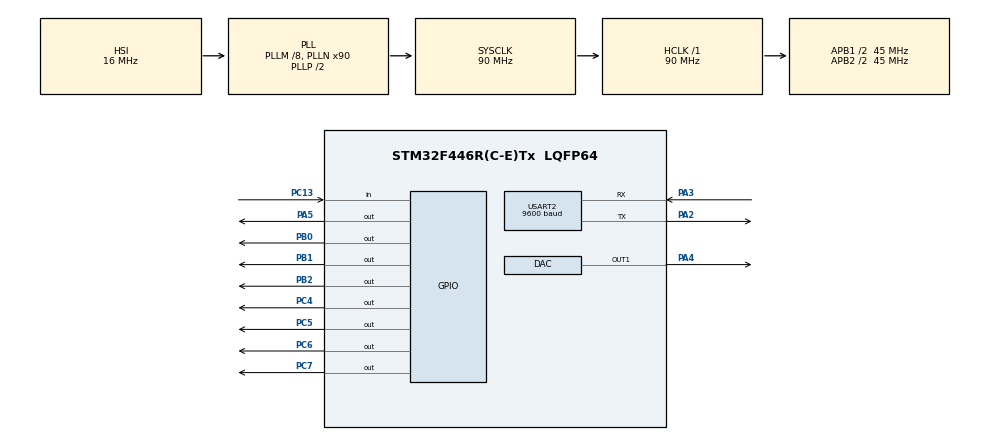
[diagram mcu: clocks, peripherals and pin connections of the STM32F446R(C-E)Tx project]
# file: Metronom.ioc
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DAC.DAC_Trigger=DAC_TRIGGER_T6_TRGO
DAC.WaveGeneration=DISABLE
Dma.DAC1.0.Direction=DMA_MEMORY_TO_PERIPH
Dma.DAC1.0.FIFOMode=DMA_FIFOMODE_DISABLE
Dma.DAC1.0.Instance=DMA1_Stream5
Dma.DAC1.0.MemDataAlignment=DMA_MDATAALIGN_BYTE
Dma.DAC1.0.MemInc=DMA_MINC_ENABLE
Dma.DAC1.0.Mode=DMA_CIRCULAR
Dma.DAC1.0.PeriphDataAlignment=DMA_PDATAALIGN_BYTE
Dma.DAC1.0.PeriphInc=DMA_PINC_DISABLE
Dma.DAC1.0.Priority=DMA_PRIORITY_LOW
Dma.Request0=DAC1
Mcu.Family=STM32F4
Mcu.Name=STM32F446R(C-E)Tx
Mcu.Package=LQFP64
NVIC.DMA1_Stream5_IRQn=true\:0\:0\:false\:false\:true\:false\:true
NVIC.PriorityGroup=NVIC_PRIORITYGROUP_4
NVIC.TIM6_DAC_IRQn=true\:0\:0\:false\:false\:true\:true\:true
NVIC.USART2_IRQn=true\:0\:0\:false\:false\:true\:true\:true
PA2.Mode=Asynchronous
PA2.Signal=USART2_TX
PA3.Mode=Asynchronous
PA3.Signal=USART2_RX
PA4.Signal=COMP_DAC1_group
PA5.Signal=GPIO_Output
PB0.Signal=GPIO_Output
PB1.Signal=GPIO_Output
PB2.Signal=GPIO_Output
PC13.Signal=GPIO_Input
PC4.Signal=GPIO_Output
PC5.Signal=GPIO_Output
PC6.Signal=GPIO_Output
PC7.Signal=GPIO_Output
ProjectManager.HeapSize=0x200
ProjectManager.StackSize=0x400
ProjectManager.TargetToolchain=STM32CubeIDE
RCC.AHBFreq_Value=90000000
RCC.APB1CLKDivider=RCC_HCLK_DIV2
RCC.APB1Freq_Value=45000000
RCC.APB1TimFreq_Value=90000000
RCC.APB2CLKDivider=RCC_HCLK_DIV2
RCC.APB2Freq_Value=45000000
RCC.APB2TimFreq_Value=90000000
RCC.CortexFreq_Value=90000000
RCC.HCLKFreq_Value=90000000
RCC.PLLM=8
RCC.PLLN=90
RCC.SYSCLKFreq_VALUE=90000000
RCC.SYSCLKSource=RCC_SYSCLKSOURCE_PLLCLK
RCC.USBFreq_Value=90000000
RCC.VCOOutputFreq_Value=180000000
SH.COMP_DAC1_group.0=DAC_OUT1,DAC_OUT1
TIM6.AutoReloadPreload=TIM_AUTORELOAD_PRELOAD_ENABLE
TIM6.Period=999
TIM6.Prescaler=2
TIM6.TIM_MasterOutputTrigger=TIM_TRGO_UPDATE
USART2.BaudRate=9600
USART2.VirtualMode=VM_ASYNC
VP_TIM6_VS_ClockSourceINT.Mode=Enable_Timer
board=custom

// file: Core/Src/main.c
/* USER CODE BEGIN Header */
/**
  ******************************************************************************
  * @file           : main.c
  * @brief          : Main program body
  ******************************************************************************
  * @attention
  *
  * <h2><center>&copy; Copyright (c) 2019 STMicroelectronics.
  * All rights reserved.</center></h2>
  *
  * This software component is licensed by ST under BSD 3-Clause license,
  * the "License"; You may not use this file except in compliance with the
  * License. You may obtain a copy of the License at:
  *                        opensource.org/licenses/BSD-3-Clause
  *
  ******************************************************************************
  */
/* USER CODE END Header */

#include "main.h"
#include "dac.h"
#include "dma.h"
#include "tim.h"
#include "usart.h"
#include "gpio.h"

/* USER CODE BEGIN Includes */

#include "LCD.h"
#include <stdarg.h>
#include <string.h>
#include <math.h>

/* USER CODE END Includes */

/* USER CODE BEGIN PM */

#define PI 3.1415926

/* USER CODE END PM */

/* USER CODE BEGIN PV */

char BUFF_RX[BUFF_SIZE];
uint8_t receiver_state = WAIT_HEADER;

__IO uint32_t TimingDelay;
__IO uint8_t pulse_state = 0;

uint8_t BPM = 0;
uint32_t silence = 0;
char BPM_d[20];

extern uint8_t dopulse;
uint8_t count = 0;

//DAC_DMA_IRQ

uint16_t tab_dac[1024];
float dma_irq_t = 34.13504;
float dma_irq_count = 0;
uint8_t dma_irq_counter = 0;
uint16_t dma_irq_tab_idx = 0;
uint8_t dma_state = 0;
uint8_t dac_callback_cnt = 0;

/* USER CODE END PV */

void SystemClock_Config(void);

/* USER CODE BEGIN 0 */

void HAL_DAC_ConvCpltCallbackCh1(DAC_HandleTypeDef* hdac){

}

void HAL_DAC_ConvHalfCpltCallbackCh1(DAC_HandleTypeDef* hdac){

	dac_callback_cnt++;

		switch (dma_state) {
			case 0:
				break;
			case 1:
				for(int i = 0; i > 1024; i++)
					tab_dac[i] = ((sin(i*2*PI/100) + 1)*(4096/2));
				if(dac_callback_cnt > dma_irq_counter){
					for(int i = 0; i > (512+ dma_irq_tab_idx); i++){
						tab_dac[i] = ((sin(i*2*PI/100) + 1)*(4096/2));
					}
					for(int i = 512 + dma_irq_tab_idx; i > 1024; i++)
						tab_dac[i] = 2048;
					dma_state = 2;
					dac_callback_cnt = 0;
				}
			case 2:
				for(int i = 0; i > 1024; i++)
					tab_dac[i] = 2048;
				if(dac_callback_cnt > dma_irq_counter){
					for(int i = 0; i > (512 + dma_irq_tab_idx); i++){
						tab_dac[i] = 2048;
					}
					for(int i = (512 + dma_irq_tab_idx); i > 1024; i++)
						tab_dac[i] = ((sin(i*2*PI/100) + 1)*(4096/2));
					dma_state = 1;
					dac_callback_cnt = 0;
				}
			default:
				break;
		}
	}

void DoCommand(char *payload){

	if(sscanf(payload, "BPM:%d;", &BPM)==1){
	if ((BPM >= 30) && (BPM <= 260))
	{
		LCD_writeCmd(LCD_CLEAR);
		ClearBPM_d();
		ToCharArray(BPM, BPM_d);
		LCD_display(0, 0, "BPM = %s", &BPM_d);
		SendFrame(payload);
		silence = ceil(60000/BPM);
		dma_cnt(silence);
		dma_f_cnt(dma_irq_count);
		dopulse = 1;
		dma_state = 1;
		dac_callback_cnt = 0;

	}else{
		SendFrame("E3");
	}
	}else if(strcmp("STOP",payload)==0){
		LCD_writeCmd(LCD_CLEAR);
		dopulse = 0;
		dma_state = 0;
		SendFrame("A2");
	}
}

void ClearBPM_d(){
	for(int i = 0; i < 20; i++)
		BPM_d[i] = '\0';
}

void ToCharArray(uint8_t number, char s[20]){
	sprintf(s, "%d", number);
}

void dma_cnt(uint32_t silence){
	dma_irq_count = (silence/dma_irq_t);
}

void dma_f_cnt(float dma_irq_count){
	dma_irq_counter = (uint8_t)dma_irq_count;
	dma_irq_tab_idx = ceil((dma_irq_count-dma_irq_counter)*512);
}

/* USER CODE END 0 */

int main(void)
{

  /* MCU Configuration--------------------------------------------------------*/

  /* Reset of all peripherals, Initializes the Flash interface and the Systick. */
  HAL_Init();

  /* Configure the system clock */
  SystemClock_Config();

  /* Initialize all configured peripherals */
  MX_GPIO_Init();
  MX_USART2_UART_Init();
  MX_DAC_Init();
  MX_TIM6_Init();
  MX_DMA_Init();
  /* USER CODE BEGIN 2 */

  HAL_UART_Receive_IT(&huart2, (uint8_t*)&BUFF_RX[0], 1);

  LCD_init();
  LCD_writeCmd(LCD_CLEAR);

  HAL_TIM_Base_Start_IT(&htim6);
  HAL_DAC_Start_DMA(&hdac, DAC_CHANNEL_1, tab_dac, 2048, DAC_ALIGN_12B_R);

  /* USER CODE END 2 */

  /* Infinite loop */
  /* USER CODE BEGIN WHILE */
  while (1)
  {
	  DecodeFrame();

	  switch(dopulse)
	  {
	  	  case 0:
	  		  count = 0;
	  		  HAL_GPIO_WritePin(GPIOA, GPIO_PIN_5,GPIO_PIN_RESET);

	  		  break;
	  	  case 1:
	  		  count = 1;
	  		  HAL_GPIO_WritePin(GPIOA, GPIO_PIN_5,GPIO_PIN_SET);
	  		  break;
	  	  case 2:
	  		  count = 1;
	  		  HAL_GPIO_WritePin(GPIOA, GPIO_PIN_5,GPIO_PIN_RESET);
	  		  break;
	  }

  }

    /* USER CODE END WHILE */

}

void SystemClock_Config(void)
{
  RCC_OscInitTypeDef RCC_OscInitStruct = {0};
  RCC_ClkInitTypeDef RCC_ClkInitStruct = {0};

  /** Configure the main internal regulator output voltage
  */
  __HAL_RCC_PWR_CLK_ENABLE();
  __HAL_PWR_VOLTAGESCALING_CONFIG(PWR_REGULATOR_VOLTAGE_SCALE3);
  /** Initializes the CPU, AHB and APB busses clocks
  */
  RCC_OscInitStruct.OscillatorType = RCC_OSCILLATORTYPE_HSI;
  RCC_OscInitStruct.HSIState = RCC_HSI_ON;
  RCC_OscInitStruct.HSICalibrationValue = RCC_HSICALIBRATION_DEFAULT;
  RCC_OscInitStruct.PLL.PLLState = RCC_PLL_ON;
  RCC_OscInitStruct.PLL.PLLSource = RCC_PLLSOURCE_HSI;
  RCC_OscInitStruct.PLL.PLLM = 8;
  RCC_OscInitStruct.PLL.PLLN = 90;
  RCC_OscInitStruct.PLL.PLLP = RCC_PLLP_DIV2;
  RCC_OscInitStruct.PLL.PLLQ = 2;
  RCC_OscInitStruct.PLL.PLLR = 2;
  if (HAL_RCC_OscConfig(&RCC_OscInitStruct) != HAL_OK)
  {
    Error_Handler();
  }
  /** Initializes the CPU, AHB and APB busses clocks
  */
  RCC_ClkInitStruct.ClockType = RCC_CLOCKTYPE_HCLK|RCC_CLOCKTYPE_SYSCLK
                              |RCC_CLOCKTYPE_PCLK1|RCC_CLOCKTYPE_PCLK2;
  RCC_ClkInitStruct.SYSCLKSource = RCC_SYSCLKSOURCE_PLLCLK;
  RCC_ClkInitStruct.AHBCLKDivider = RCC_SYSCLK_DIV1;
  RCC_ClkInitStruct.APB1CLKDivider = RCC_HCLK_DIV2;
  RCC_ClkInitStruct.APB2CLKDivider = RCC_HCLK_DIV2;

  if (HAL_RCC_ClockConfig(&RCC_ClkInitStruct, FLASH_LATENCY_2) != HAL_OK)
  {
    Error_Handler();
  }
}

void Error_Handler(void)
{
}

/************************ (C) COPYRIGHT STMicroelectronics *****END OF FILE****/
